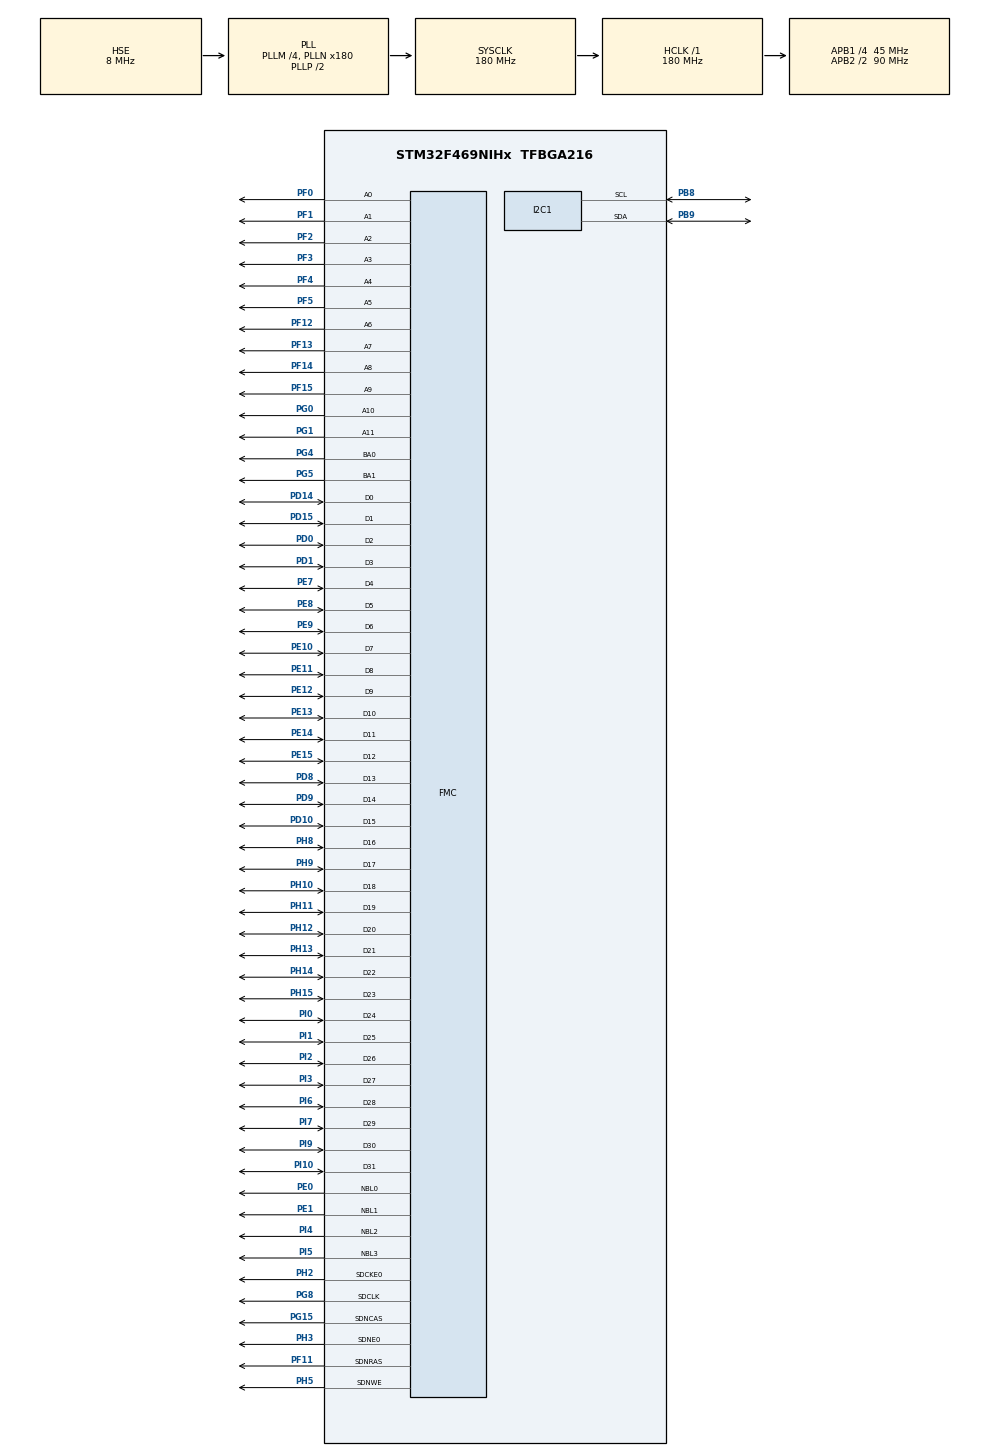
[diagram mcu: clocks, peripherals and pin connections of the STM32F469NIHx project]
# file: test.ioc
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DSIHOST.NumberOfLanes=DSI_TWO_DATA_LANES
DSIHOST_CKN.Mode=DSIHost_Video
DSIHOST_CKN.Signal=DSIHOST_CKN
DSIHOST_CKP.Mode=DSIHost_Video
DSIHOST_CKP.Signal=DSIHOST_CKP
DSIHOST_D0N.Mode=DSIHost_Video
DSIHOST_D0N.Signal=DSIHOST_D0N
DSIHOST_D0P.Mode=DSIHost_Video
DSIHOST_D0P.Signal=DSIHOST_D0P
DSIHOST_D1N.Mode=DSIHost_Video
DSIHOST_D1N.Signal=DSIHOST_D1N
DSIHOST_D1P.Mode=DSIHost_Video
DSIHOST_D1P.Signal=DSIHOST_D1P
FMC.CASLatency1=FMC_SDRAM_CAS_LATENCY_3
FMC.ExitSelfRefreshDelay1=7
FMC.LoadToActiveDelay1=2
FMC.RCDDelay1=2
FMC.RPDelay1=2
FMC.RPDelay2=2
FMC.ReadPipeDelay1=FMC_SDRAM_RPIPE_DELAY_2
FMC.ReadPipeDelay2=FMC_SDRAM_RPIPE_DELAY_2
FMC.RowCycleDelay1=7
FMC.RowCycleDelay2=7
FMC.SelfRefreshTime1=4
FMC.WriteRecoveryTime1=3
LTDC.ActiveW=800
LTDC.FBStartAdress_L0=0xC0000000
LTDC.Layers=0
LTDC.WindowX1_L0=800
LTDC.WindowY1_L0=480
Mcu.Family=STM32F4
Mcu.Name=STM32F469NIHx
Mcu.Package=TFBGA216
NVIC.PriorityGroup=NVIC_PRIORITYGROUP_4
PB8.Mode=I2C
PB8.Signal=I2C1_SCL
PB9.Mode=I2C
PB9.Signal=I2C1_SDA
PD0.Signal=FMC_D2_DA2
PD1.Signal=FMC_D3_DA3
PD10.Signal=FMC_D15_DA15
PD14.Signal=FMC_D0_DA0
PD15.Signal=FMC_D1_DA1
PD8.Signal=FMC_D13_DA13
PD9.Signal=FMC_D14_DA14
PE0.Signal=FMC_NBL0
PE1.Signal=FMC_NBL1
PE10.Signal=FMC_D7_DA7
PE11.Signal=FMC_D8_DA8
PE12.Signal=FMC_D9_DA9
PE13.Signal=FMC_D10_DA10
PE14.Signal=FMC_D11_DA11
PE15.Signal=FMC_D12_DA12
PE7.Signal=FMC_D4_DA4
PE8.Signal=FMC_D5_DA5
PE9.Signal=FMC_D6_DA6
PF0.Signal=FMC_A0
PF1.Signal=FMC_A1
PF11.Signal=FMC_SDNRAS
PF12.Signal=FMC_A6
PF13.Signal=FMC_A7
PF14.Signal=FMC_A8
PF15.Signal=FMC_A9
PF2.Signal=FMC_A2
PF3.Signal=FMC_A3
PF4.Signal=FMC_A4
PF5.Signal=FMC_A5
PG0.Signal=FMC_A10
PG1.Signal=FMC_A11
PG15.Signal=FMC_SDNCAS
PG4.Signal=FMC_A14_BA0
PG5.Signal=FMC_A15_BA1
PG8.Signal=FMC_SDCLK
PH0/OSC_IN.Mode=HSE-External-Oscillator
PH0/OSC_IN.Signal=RCC_OSC_IN
PH1/OSC_OUT.Mode=HSE-External-Oscillator
PH1/OSC_OUT.Signal=RCC_OSC_OUT
PH10.Signal=FMC_D18
PH11.Signal=FMC_D19
PH12.Signal=FMC_D20
PH13.Signal=FMC_D21
PH14.Signal=FMC_D22
PH15.Signal=FMC_D23
PH2.Mode=SdramChipSelect1_1
PH2.Signal=FMC_SDCKE0
PH3.Mode=SdramChipSelect1_1
PH3.Signal=FMC_SDNE0
PH5.Signal=FMC_SDNWE
PH8.Signal=FMC_D16
PH9.Signal=FMC_D17
PI0.Signal=FMC_D24
PI1.Signal=FMC_D25
PI10.Signal=FMC_D31
PI2.Signal=FMC_D26
PI3.Signal=FMC_D27
PI4.Signal=FMC_NBL2
PI5.Signal=FMC_NBL3
PI6.Signal=FMC_D28
PI7.Signal=FMC_D29
PI9.Signal=FMC_D30
ProjectManager.HeapSize=0x200
ProjectManager.StackSize=0x400
ProjectManager.TargetToolchain=STM32CubeIDE
RCC.AHBFreq_Value=180000000
RCC.APB1CLKDivider=RCC_HCLK_DIV4
RCC.APB1Freq_Value=45000000
RCC.APB1TimFreq_Value=90000000
RCC.APB2CLKDivider=RCC_HCLK_DIV2
RCC.APB2Freq_Value=90000000
RCC.APB2TimFreq_Value=180000000
RCC.CortexFreq_Value=180000000
RCC.HCLKFreq_Value=180000000
RCC.HSE_VALUE=8000000
RCC.PLLDSIIDF=DSI_PLL_IN_DIV2
RCC.PLLDSINDIV=125
RCC.PLLM=4
RCC.PLLN=180
RCC.PLLQ=6
RCC.PLLR=6
RCC.PLLSAIN=144
RCC.PLLSAIP=RCC_PLLSAIP_DIV6
RCC.PLLSAIQ=2
RCC.PLLSAIRDiv=RCC_PLLSAIDIVR_4
RCC.PLLSourceVirtual=RCC_PLLSOURCE_HSE
RCC.SYSCLKFreq_VALUE=180000000
RCC.SYSCLKSource=RCC_SYSCLKSOURCE_PLLCLK
RCC.USBCLockSelection=RCC_CLK48CLKSOURCE_PLLSAIP
RCC.USBFreq_Value=48000000
RCC.VCOOutputFreq_Value=360000000
SH.FMC_A0.0=FMC_A0,12b-sda1
SH.FMC_A1.0=FMC_A1,12b-sda1
SH.FMC_A10.0=FMC_A10,12b-sda1
SH.FMC_A11.0=FMC_A11,12b-sda1
SH.FMC_A14_BA0.0=FMC_BA0,FourSdramBanks1
SH.FMC_A15_BA1.0=FMC_BA1,FourSdramBanks1
SH.FMC_A2.0=FMC_A2,12b-sda1
SH.FMC_A3.0=FMC_A3,12b-sda1
SH.FMC_A4.0=FMC_A4,12b-sda1
SH.FMC_A5.0=FMC_A5,12b-sda1
SH.FMC_A6.0=FMC_A6,12b-sda1
SH.FMC_A7.0=FMC_A7,12b-sda1
SH.FMC_A8.0=FMC_A8,12b-sda1
SH.FMC_A9.0=FMC_A9,12b-sda1
SH.FMC_D0_DA0.0=FMC_D0,sd-32b-d1
SH.FMC_D10_DA10.0=FMC_D10,sd-32b-d1
SH.FMC_D11_DA11.0=FMC_D11,sd-32b-d1
SH.FMC_D12_DA12.0=FMC_D12,sd-32b-d1
SH.FMC_D13_DA13.0=FMC_D13,sd-32b-d1
SH.FMC_D14_DA14.0=FMC_D14,sd-32b-d1
SH.FMC_D15_DA15.0=FMC_D15,sd-32b-d1
SH.FMC_D16.0=FMC_D16,sd-32b-d1
SH.FMC_D17.0=FMC_D17,sd-32b-d1
SH.FMC_D18.0=FMC_D18,sd-32b-d1
SH.FMC_D19.0=FMC_D19,sd-32b-d1
SH.FMC_D1_DA1.0=FMC_D1,sd-32b-d1
SH.FMC_D20.0=FMC_D20,sd-32b-d1
SH.FMC_D21.0=FMC_D21,sd-32b-d1
SH.FMC_D22.0=FMC_D22,sd-32b-d1
SH.FMC_D23.0=FMC_D23,sd-32b-d1
SH.FMC_D24.0=FMC_D24,sd-32b-d1
SH.FMC_D25.0=FMC_D25,sd-32b-d1
SH.FMC_D26.0=FMC_D26,sd-32b-d1
SH.FMC_D27.0=FMC_D27,sd-32b-d1
SH.FMC_D28.0=FMC_D28,sd-32b-d1
SH.FMC_D29.0=FMC_D29,sd-32b-d1
SH.FMC_D2_DA2.0=FMC_D2,sd-32b-d1
SH.FMC_D30.0=FMC_D30,sd-32b-d1
SH.FMC_D31.0=FMC_D31,sd-32b-d1
SH.FMC_D3_DA3.0=FMC_D3,sd-32b-d1
SH.FMC_D4_DA4.0=FMC_D4,sd-32b-d1
SH.FMC_D5_DA5.0=FMC_D5,sd-32b-d1
SH.FMC_D6_DA6.0=FMC_D6,sd-32b-d1
SH.FMC_D7_DA7.0=FMC_D7,sd-32b-d1
SH.FMC_D8_DA8.0=FMC_D8,sd-32b-d1
SH.FMC_D9_DA9.0=FMC_D9,sd-32b-d1
SH.FMC_NBL0.0=FMC_NBL0,Sd4ByteEnable1
SH.FMC_NBL1.0=FMC_NBL1,Sd4ByteEnable1
SH.FMC_NBL2.0=FMC_NBL2,Sd4ByteEnable1
SH.FMC_NBL3.0=FMC_NBL3,Sd4ByteEnable1
SH.FMC_SDCLK.0=FMC_SDCLK,12b-sda1
SH.FMC_SDNCAS.0=FMC_SDNCAS,12b-sda1
SH.FMC_SDNRAS.0=FMC_SDNRAS,12b-sda1
SH.FMC_SDNWE.0=FMC_SDNWE,12b-sda1
STMicroelectronics.X-CUBE-AI.10.2.0.ActivationBufferSizeList=28532
STMicroelectronics.X-CUBE-AI.10.2.0.ActivationBuffers=pool0
STMicroelectronics.X-CUBE-AI.10.2.0.ActivationNames=pool0
STMicroelectronics.X-CUBE-AI.10.2.0.ActivationSizes=AI_NETWORK_DATA_ACTIVATION_1_SIZE
STMicroelectronics.X-CUBE-AI.10.2.0.ApplicationCcDeviceJjApplication=ApplicationTemplate
STMicroelectronics.X-CUBE-AI.10.2.0.HeapSize=0x800
STMicroelectronics.X-CUBE-AI.10.2.0.InternalRamActivationBufferMaxSize=AI_NETWORK_DATA_ACTIVATIONS_SIZE
STMicroelectronics.X-CUBE-AI.10.2.0.LatestDirectoryUsed-ea8432d0b437e22b1926be55df984cf24aff27634c1c36f28bf251f60baa54de=C\:\\Users\\lenovo\\Downloads
STMicroelectronics.X-CUBE-AI.10.2.0.MaximumNumberOfInputLayer=1
STMicroelectronics.X-CUBE-AI.10.2.0.MaximumNumberOfOutputLayer=1
STMicroelectronics.X-CUBE-AI.10.2.0.MaximumSizeOfInputLayer=1
STMicroelectronics.X-CUBE-AI.10.2.0.MaximumSizeOfOutputLayer=1
STMicroelectronics.X-CUBE-AI.10.2.0.ModelActualCompression-ea8432d0b437e22b1926be55df984cf24aff27634c1c36f28bf251f60baa54de=0.0
STMicroelectronics.X-CUBE-AI.10.2.0.ModelCompression-ea8432d0b437e22b1926be55df984cf24aff27634c1c36f28bf251f60baa54de=None
STMicroelectronics.X-CUBE-AI.10.2.0.ModelFlashOccupation-ea8432d0b437e22b1926be55df984cf24aff27634c1c36f28bf251f60baa54de=615380
STMicroelectronics.X-CUBE-AI.10.2.0.ModelHashList=ea8432d0b437e22b1926be55df984cf24aff27634c1c36f28bf251f60baa54de
STMicroelectronics.X-CUBE-AI.10.2.0.ModelKind-ea8432d0b437e22b1926be55df984cf24aff27634c1c36f28bf251f60baa54de=KERAS
STMicroelectronics.X-CUBE-AI.10.2.0.ModelMacc-ea8432d0b437e22b1926be55df984cf24aff27634c1c36f28bf251f60baa54de=884472
STMicroelectronics.X-CUBE-AI.10.2.0.ModelName-ea8432d0b437e22b1926be55df984cf24aff27634c1c36f28bf251f60baa54de=network
STMicroelectronics.X-CUBE-AI.10.2.0.ModelNameList=network
STMicroelectronics.X-CUBE-AI.10.2.0.ModelRamOccupation-ea8432d0b437e22b1926be55df984cf24aff27634c1c36f28bf251f60baa54de=28532
STMicroelectronics.X-CUBE-AI.10.2.0.ModelStructureFile-ea8432d0b437e22b1926be55df984cf24aff27634c1c36f28bf251f60baa54de=C\:\\Users\\lenovo\\Downloads\\mnist_cnn.h5
STMicroelectronics.X-CUBE-AI.10.2.0.ModelType-ea8432d0b437e22b1926be55df984cf24aff27634c1c36f28bf251f60baa54de=STM32Cube.AI MCU runtime
STMicroelectronics.X-CUBE-AI.10.2.0.ReadyForCodeGeneration=true
STMicroelectronics.X-CUBE-AI.10.2.0.StackSize=0x800
STMicroelectronics.X-CUBE-AI.10.2.0.WorkingBufferStartAddrList=0xFFFFFFFF
STMicroelectronics.X-CUBE-AI.10.2.0.XAaCUBEAaAICcArtificialOoIntelligenceJjCore=true
STMicroelectronics.X-CUBE-AI.10.2.0.copyWeightToRam=false
STMicroelectronics.X-CUBE-AI.10.2.0.customLayerConfigEnabled=false
STMicroelectronics.X-CUBE-AI.10.2.0.noOnnxIoTranspose=false
STMicroelectronics.X-CUBE-AI.10.2.0.useInputAllocation=true
STMicroelectronics.X-CUBE-AI.10.2.0.useOutputAllocation=true
STMicroelectronics.X-CUBE-DISPLAY.3.0.0_IsPackSelfContextualization=true
VP_CRC_VS_CRC.Mode=CRC_Activate
VP_DMA2D_VS_DMA2D.Mode=DMA2D_Activate
VP_LTDC_DSIMode.Mode=RGB888
VP_STMicroelectronics.X-CUBE-AI_VS_ArtificialOoIntelligenceJjXAaCUBEAaAI_10.2.0.Mode=ArtificialOoIntelligenceJjXAaCUBEAaAI
VP_STMicroelectronics.X-CUBE-AI_VS_DeviceJjApplication_10.2.0.Mode=DeviceJjApplication
board=STM32F469I-DISCO

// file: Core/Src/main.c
/* USER CODE BEGIN Header */
/**
  ******************************************************************************
  * @file           : main.c
  * @brief          : Main program body
  ******************************************************************************
  * @attention
  *
  * Copyright (c) 2025 STMicroelectronics.
  * All rights reserved.
  *
  * This software is licensed under terms that can be found in the LICENSE file
  * in the root directory of this software component.
  * If no LICENSE file comes with this software, it is provided AS-IS.
  *
  ******************************************************************************
  */
/* USER CODE END Header */
#include "main.h"
#include "network.h"
#include "network_data.h"
#include "stm32f4xx_hal.h"
#include "stm32469i_discovery.h"
#include "stm32469i_discovery_lcd.h"
#include "stm32469i_discovery_ts.h"
#include <string.h>
#include <stdio.h>
#include <stdint.h>
#include <stdlib.h>

/* === Globals for AI === */
static ai_handle network = AI_HANDLE_NULL;
static ai_u8 activations[AI_NETWORK_DATA_ACTIVATIONS_SIZE];

static ai_buffer ai_input[AI_NETWORK_IN_NUM];
static ai_buffer ai_output[AI_NETWORK_OUT_NUM];

static float in_data[AI_NETWORK_IN_1_SIZE];
static float out_data[AI_NETWORK_OUT_1_SIZE];

/* === Capture parameters / LCD layout === */
#ifndef LCD_FB_START_ADDRESS
#define LCD_FB_START_ADDRESS  ((uint32_t)0xC0000000)
#endif

#define SRC_WIDTH   800
#define SRC_HEIGHT  480

/* Drawing box on screen */
#define DRAW_X  50
#define DRAW_Y  80
#define DRAW_W  700
#define DRAW_H  250

/* Result area */
#define RESULT_X 200
#define RESULT_Y 350
#define RESULT_W 400
#define RESULT_H 110

/* Invert input if you draw black on white */
#define INVERT_INPUT 1

/* Small padding around bounding box captured */
#define BBOX_PAD 8

/* === Prototypes === */
static void network_init(void);
static int ai_run(uint8_t *img28); /* returns predicted class 0..9, or -1 on error */
static int ai_run_with_conf(uint8_t *img28); /* wrapper to run and keep out_data */
static void capture_frame_bbox_to_mnist(uint8_t *out28x28, int x0, int y0, int x1, int y1);
static void draw_ui_init(void);
static void Error_Display(const char *msg);

/* === Initialize network === */
static void network_init(void) {
    ai_error err;

    err = ai_network_create(&network, AI_NETWORK_DATA_CONFIG);
    if (err.type != AI_ERROR_NONE) {
        /* cannot create network: show error and stop */
        Error_Display("AI create error");
        Error_Handler();
    }

    const ai_network_params params = {
        AI_NETWORK_DATA_WEIGHTS(ai_network_data_weights_get()),
        AI_NETWORK_DATA_ACTIVATIONS(activations)
    };

    if (!ai_network_init(network, &params)) {
        /* initialization failed: show error and stop */
        err = ai_network_get_error(network);
        Error_Display("AI init error");
        Error_Handler();
    }

    /* Retrieve io buffers */
    const ai_buffer *input = ai_network_inputs_get(network, NULL);
    const ai_buffer *output = ai_network_outputs_get(network, NULL);

    /* copy descriptors */
    ai_input[0] = input[0];
    ai_output[0] = output[0];

    /* associate memory pointers (we store floats in in_data/out_data) */
    ai_input[0].data = AI_HANDLE_PTR(in_data);
    ai_output[0].data = AI_HANDLE_PTR(out_data);
}

/* === AI inference: convert uint8 28x28 -> float normalized and run ===
   Returns predicted label 0..9 or -1 on error. Also fills out_data[] with outputs.
   IMPORTANT: If your model was quantized you must apply the proper scale/zero_point here.
*/
static int ai_run(uint8_t *img) {
    ai_i32 nbatch;

    /* Normalize into in_data (float32 in range 0..1) */
    for (int i = 0; i < AI_NETWORK_IN_1_SIZE; i++) {
        in_data[i] = ((float)img[i]) / 255.0f;
    }

    /* ensure ai_input/ai_output point to buffers (redundant but safe) */
    ai_input[0].data = AI_HANDLE_PTR(in_data);
    ai_output[0].data = AI_HANDLE_PTR(out_data);

    nbatch = ai_network_run(network, ai_input, ai_output);
    if (nbatch != 1) {
        /* Show error but do not block entire system */
        Error_Display("AI run error");
        return -1;
    }

    /* Find top index */
    int max_idx = 0;
    float max_val = out_data[0];
    for (int i = 1; i < AI_NETWORK_OUT_1_SIZE; i++) {
        if (out_data[i] > max_val) {
            max_val = out_data[i];
            max_idx = i;
        }
    }

    return max_idx;
}

/* Convenience wrapper (same as ai_run but just a named alias if needed) */
static int ai_run_with_conf(uint8_t *img28) {
    return ai_run(img28);
}

/* === Capture a bounding-box region of the framebuffer and downscale to 28x28.
   - x0,y0..x1,y1 are inclusive screen coordinates.
   - out28x28[] values 0..255 (uint8_t).
*/
static void capture_frame_bbox_to_mnist(uint8_t *out28x28, int x0, int y0, int x1, int y1) {
    uint32_t *fb = (uint32_t *)LCD_FB_START_ADDRESS;
    if (fb == NULL) {
        for (int i = 0; i < 28*28; i++) out28x28[i] = 0;
        return;
    }

    int srcW = x1 - x0 + 1;
    int srcH = y1 - y0 + 1;
    if (srcW <= 0 || srcH <= 0) {
        for (int i = 0; i < 28*28; i++) out28x28[i] = 0;
        return;
    }

    const int dstW = 28, dstH = 28;
    float sx = (float)srcW / (float)dstW;
    float sy = (float)srcH / (float)dstH;

    for (int y = 0; y < dstH; y++) {
        float y0f = y * sy;
        float y1f = (y + 1) * sy;
        int ys = (int)floorf(y0f);
        int ye = (int)ceilf(y1f);
        if (ye >= srcH) ye = srcH - 1;
        if (ys < 0) ys = 0;

        for (int x = 0; x < dstW; x++) {
            float x0f = x * sx;
            float x1f = (x + 1) * sx;
            int xs = (int)floorf(x0f);
            int xe = (int)ceilf(x1f);
            if (xe >= srcW) xe = srcW - 1;
            if (xs < 0) xs = 0;

            uint32_t rsum=0, gsum=0, bsum=0, count=0;
            for (int yy = ys; yy <= ye; yy++) {
                uint32_t *row = fb + ((y0 + yy) * SRC_WIDTH);
                for (int xx = xs; xx <= xe; xx++) {
                    uint32_t px = row[x0 + xx]; /* ARGB8888 */
                    uint8_t b = (uint8_t)(px & 0xFF);
                    uint8_t g = (uint8_t)((px >> 8) & 0xFF);
                    uint8_t r = (uint8_t)((px >> 16) & 0xFF);
                    rsum += r; gsum += g; bsum += b;
                    count++;
                }
            }
            if (count == 0) count = 1;
            uint8_t ravg = (uint8_t)(rsum / count);
            uint8_t gavg = (uint8_t)(gsum / count);
            uint8_t bavg = (uint8_t)(bsum / count);

            uint8_t gray = (uint8_t)((0.299f * ravg) + (0.587f * gavg) + (0.114f * bavg));
#if INVERT_INPUT
            gray = 255 - gray;
#endif
            out28x28[y*dstW + x] = gray;
        }
    }
}

/* Small helper to draw the initial UI: top banner, drawing rectangle, result box */
static void draw_ui_init(void) {
    /* Clear screen */
    BSP_LCD_Clear(LCD_COLOR_WHITE);

    /* Top banner */
    BSP_LCD_SetBackColor(LCD_COLOR_BLUE);
    BSP_LCD_SetTextColor(LCD_COLOR_WHITE);
    BSP_LCD_FillRect(0, 0, SRC_WIDTH, 50);
    BSP_LCD_DisplayStringAt(0, 15, (uint8_t*)"Digit Recognition", CENTER_MODE);

    /* Drawing box */
    BSP_LCD_SetBackColor(LCD_COLOR_WHITE);
    BSP_LCD_SetTextColor(LCD_COLOR_BLACK);
    BSP_LCD_DrawRect(DRAW_X, DRAW_Y, DRAW_W, DRAW_H);
    BSP_LCD_DisplayStringAt(0, DRAW_Y - 18, (uint8_t*)"Draw here", CENTER_MODE);

    /* Clear drawing area (white) */
    BSP_LCD_SetBackColor(LCD_COLOR_WHITE);
    BSP_LCD_FillRect(DRAW_X+1, DRAW_Y+1, DRAW_W-2, DRAW_H-2);

    /* "Clear" button (visual only: we clear automatically after prediction) */
    BSP_LCD_SetBackColor(LCD_COLOR_LIGHTGRAY);
    BSP_LCD_SetTextColor(LCD_COLOR_BLACK);
    BSP_LCD_FillRect(DRAW_X, DRAW_Y + DRAW_H + 12, 120, 36);
    BSP_LCD_SetTextColor(LCD_COLOR_BLACK);
    BSP_LCD_DisplayStringAt(DRAW_X + 10, DRAW_Y + DRAW_H + 22, (uint8_t*)"Clear", LEFT_MODE);

    /* Result box */
    BSP_LCD_SetBackColor(LCD_COLOR_WHITE);
    BSP_LCD_SetTextColor(LCD_COLOR_BLACK);
    BSP_LCD_DrawRect(RESULT_X, RESULT_Y, RESULT_W, RESULT_H);
    BSP_LCD_DisplayStringAt(0, RESULT_Y - 14, (uint8_t*)"Result", CENTER_MODE);

    /* Initial instruction */
    BSP_LCD_SetTextColor(LCD_COLOR_RED);
    BSP_LCD_DisplayStringAt(0, 60, (uint8_t*)"Draw a digit and release to predict", CENTER_MODE);
}

/* Error display (non-blocking) */
static void Error_Display(const char *msg) {
    /* Draw message in result area in red */
    BSP_LCD_SetBackColor(LCD_COLOR_WHITE);
    BSP_LCD_SetTextColor(LCD_COLOR_RED);
    BSP_LCD_FillRect(RESULT_X+1, RESULT_Y+1, RESULT_W-2, RESULT_H-2);
    BSP_LCD_DisplayStringAt(0, RESULT_Y + (RESULT_H/2) - 6, (uint8_t*)msg, CENTER_MODE);
}

CRC_HandleTypeDef hcrc;

DMA2D_HandleTypeDef hdma2d;

DSI_HandleTypeDef hdsi;

I2C_HandleTypeDef hi2c1;

LTDC_HandleTypeDef hltdc;

SDRAM_HandleTypeDef hsdram1;

void SystemClock_Config(void);
static void MX_GPIO_Init(void);
static void MX_CRC_Init(void);
static void MX_DMA2D_Init(void);
static void MX_DSIHOST_DSI_Init(void);
static void MX_FMC_Init(void);
static void MX_I2C1_Init(void);
static void MX_LTDC_Init(void);

int main(void)
{

  /* MCU Configuration--------------------------------------------------------*/

  /* Reset of all peripherals, Initializes the Flash interface and the Systick. */
  HAL_Init();

  /* Configure the system clock */
  SystemClock_Config();

  /* Initialize all configured peripherals */
  MX_GPIO_Init();
  MX_CRC_Init();
  MX_DMA2D_Init();
  MX_DSIHOST_DSI_Init();
  MX_FMC_Init();
  MX_I2C1_Init();
  MX_LTDC_Init();
  /* USER CODE BEGIN 2 */
  network_init();

  /* Init SDRAM + LCD + Touch */
      BSP_SDRAM_Init();
      BSP_LCD_Init();
      BSP_LCD_LayerDefaultInit(0, LCD_FB_START_ADDRESS);
      BSP_LCD_SelectLayer(0);
      BSP_LCD_DisplayOn();

      if (BSP_TS_Init(SRC_WIDTH, SRC_HEIGHT) != TS_OK) {
          Error_Display("Touchscreen init error");
          Error_Handler();
      }

      /* draw UI */
      draw_ui_init();

      /* Touch bounding box tracking */
      int draw_min_x = SRC_WIDTH, draw_min_y = SRC_HEIGHT, draw_max_x = 0, draw_max_y = 0;
      int was_touching = 0;

      /* Buffers */
      uint8_t mnist_img[28*28];
      int prediction = -1;
  /* USER CODE END 2 */

  /* Infinite loop */
  while (1)
  {
	  TS_StateTypeDef TS_State;
	          BSP_TS_GetState(&TS_State);

	          if (TS_State.touchDetected > 0) {
	              /* User is touching: update bounding box and draw pixels */
	              was_touching = 1;
	              for (int i = 0; i < TS_State.touchDetected; i++) {
	                  int tx = TS_State.touchX[i];
	                  int ty = TS_State.touchY[i];

	                  /* Constrain to drawing box so we don't mark UI */
	                  if (tx < DRAW_X) tx = DRAW_X;
	                  if (tx >= DRAW_X + DRAW_W) tx = DRAW_X + DRAW_W - 1;
	                  if (ty < DRAW_Y) ty = DRAW_Y;
	                  if (ty >= DRAW_Y + DRAW_H) ty = DRAW_Y + DRAW_H - 1;

	                  /* update bbox relative to full screen */
	                  if (tx < draw_min_x) draw_min_x = tx;
	                  if (ty < draw_min_y) draw_min_y = ty;
	                  if (tx > draw_max_x) draw_max_x = tx;
	                  if (ty > draw_max_y) draw_max_y = ty;

	                  /* draw thicker point for nicer drawing */
	                  BSP_LCD_FillRect(tx-1, ty-1, 3, 3);
	              }

	              HAL_Delay(20);
	              continue;
	          } else {
	              /* No touch now */
	              if (was_touching) {
	                  /* user just released -> perform capture + inference */

	                  /* small settle delay to avoid transient frames */
	                  HAL_Delay(150);

	                  /* Bound bbox and add padding, ensure inside screen */
	                  if (draw_max_x == 0 && draw_max_y == 0) {
	                      /* nothing drawn -> show message */
	                      Error_Display("No stroke detected");
	                  } else {
	                      int bx0 = draw_min_x - BBOX_PAD; if (bx0 < 0) bx0 = 0;
	                      int by0 = draw_min_y - BBOX_PAD; if (by0 < 0) by0 = 0;
	                      int bx1 = draw_max_x + BBOX_PAD; if (bx1 >= SRC_WIDTH) bx1 = SRC_WIDTH - 1;
	                      int by1 = draw_max_y + BBOX_PAD; if (by1 >= SRC_HEIGHT) by1 = SRC_HEIGHT - 1;

	                      /* capture and resize into mnist_img */
	                      capture_frame_bbox_to_mnist(mnist_img, bx0, by0, bx1, by1);

	                      /* Zero buffers (safety) */
	                      for (int i = 0; i < AI_NETWORK_IN_1_SIZE; i++) in_data[i] = 0.0f;
	                      for (int i = 0; i < AI_NETWORK_OUT_1_SIZE; i++) out_data[i] = 0.0f;

	                      prediction = ai_run_with_conf(mnist_img);
	                      if (prediction < 0) {
	                          /* ai run error already displayed by ai_run */
	                      } else {
	                          /* Display predicted digit and confidence */
	                          /* Find top1 confidence */
	                          float top_val = out_data[0];
	                          for (int i = 1; i < AI_NETWORK_OUT_1_SIZE; i++) {
	                              if (out_data[i] > top_val) top_val = out_data[i];
	                          }

	                          /* Clear result area */
	                          BSP_LCD_SetBackColor(LCD_COLOR_WHITE);
	                          BSP_LCD_FillRect(RESULT_X+1, RESULT_Y+1, RESULT_W-2, RESULT_H-2);

	                          /* Choose color by confidence */
	                          if (top_val > 0.8f) BSP_LCD_SetTextColor(LCD_COLOR_GREEN);
	                          else if (top_val > 0.5f) BSP_LCD_SetTextColor(LCD_COLOR_ORANGE);
	                          else BSP_LCD_SetTextColor(LCD_COLOR_RED);

	                          char resbuf[64];
	                          sprintf(resbuf, "Predicted: %d (%.1f%%)", prediction, top_val * 100.0f);
	                          BSP_LCD_DisplayStringAt(0, RESULT_Y + 12, (uint8_t*)resbuf, CENTER_MODE);

	                          /* Draw a mini histogram of the 10 probs */
	                          int bar_x = RESULT_X + 8;
	                          int bar_y = RESULT_Y + 40;
	                          int bar_w = (RESULT_W - 16) / 10;
	                          int bar_max_h = RESULT_H - 60;
	                          BSP_LCD_SetTextColor(LCD_COLOR_BLACK);
	                          for (int i = 0; i < 10; i++) {
	                              float v = out_data[i];
	                              if (v < 0.0f) v = 0.0f;
	                              if (v > 1.0f) v = 1.0f;
	                              int h = (int)(v * bar_max_h + 0.5f);
	                              /* Draw background bar */
	                              BSP_LCD_SetBackColor(LCD_COLOR_WHITE);
	                              BSP_LCD_FillRect(bar_x + i*bar_w, bar_y, bar_w - 2, bar_max_h);
	                              /* Draw filled bar */
	                              BSP_LCD_SetBackColor(LCD_COLOR_BLUE);
	                              BSP_LCD_FillRect(bar_x + i*bar_w, bar_y + (bar_max_h - h), bar_w - 2, h);
	                              /* Label below */
	                              char t[3]; sprintf(t, "%d", i);
	                              BSP_LCD_SetTextColor(LCD_COLOR_BLACK);
	                              BSP_LCD_DisplayStringAt(bar_x + i*bar_w, bar_y + bar_max_h + 2, (uint8_t*)t, LEFT_MODE);
	                          }
	                      }
	                  }

	                  /* Clear drawing area so next digit starts fresh */
	                  BSP_LCD_SetBackColor(LCD_COLOR_WHITE);
	                  BSP_LCD_FillRect(DRAW_X + 1, DRAW_Y + 1, DRAW_W - 2, DRAW_H - 2);

	                  /* Reset bbox and state */
	                  draw_min_x = SRC_WIDTH; draw_min_y = SRC_HEIGHT;
	                  draw_max_x = 0; draw_max_y = 0;
	                  was_touching = 0;
	              }
	          }

	          HAL_Delay(20);
  }
}

void SystemClock_Config(void)
{
  RCC_OscInitTypeDef RCC_OscInitStruct = {0};
  RCC_ClkInitTypeDef RCC_ClkInitStruct = {0};

  /** Configure the main internal regulator output voltage
  */
  __HAL_RCC_PWR_CLK_ENABLE();
  __HAL_PWR_VOLTAGESCALING_CONFIG(PWR_REGULATOR_VOLTAGE_SCALE1);

  /** Initializes the RCC Oscillators according to the specified parameters
  * in the RCC_OscInitTypeDef structure.
  */
  RCC_OscInitStruct.OscillatorType = RCC_OSCILLATORTYPE_HSE;
  RCC_OscInitStruct.HSEState = RCC_HSE_ON;
  RCC_OscInitStruct.PLL.PLLState = RCC_PLL_ON;
  RCC_OscInitStruct.PLL.PLLSource = RCC_PLLSOURCE_HSE;
  RCC_OscInitStruct.PLL.PLLM = 4;
  RCC_OscInitStruct.PLL.PLLN = 180;
  RCC_OscInitStruct.PLL.PLLP = RCC_PLLP_DIV2;
  RCC_OscInitStruct.PLL.PLLQ = 6;
  RCC_OscInitStruct.PLL.PLLR = 6;
  if (HAL_RCC_OscConfig(&RCC_OscInitStruct) != HAL_OK)
  {
    Error_Handler();
  }

  /** Activate the Over-Drive mode
  */
  if (HAL_PWREx_EnableOverDrive() != HAL_OK)
  {
    Error_Handler();
  }

  /** Initializes the CPU, AHB and APB buses clocks
  */
  RCC_ClkInitStruct.ClockType = RCC_CLOCKTYPE_HCLK|RCC_CLOCKTYPE_SYSCLK
                              |RCC_CLOCKTYPE_PCLK1|RCC_CLOCKTYPE_PCLK2;
  RCC_ClkInitStruct.SYSCLKSource = RCC_SYSCLKSOURCE_PLLCLK;
  RCC_ClkInitStruct.AHBCLKDivider = RCC_SYSCLK_DIV1;
  RCC_ClkInitStruct.APB1CLKDivider = RCC_HCLK_DIV4;
  RCC_ClkInitStruct.APB2CLKDivider = RCC_HCLK_DIV2;

  if (HAL_RCC_ClockConfig(&RCC_ClkInitStruct, FLASH_LATENCY_5) != HAL_OK)
  {
    Error_Handler();
  }
}

static void MX_CRC_Init(void)
{

  hcrc.Instance = CRC;
  if (HAL_CRC_Init(&hcrc) != HAL_OK)
  {
    Error_Handler();
  }

}

static void MX_DMA2D_Init(void)
{

  hdma2d.Instance = DMA2D;
  hdma2d.Init.Mode = DMA2D_M2M;
  hdma2d.Init.ColorMode = DMA2D_OUTPUT_ARGB8888;
  hdma2d.Init.OutputOffset = 0;
  hdma2d.LayerCfg[1].InputOffset = 0;
  hdma2d.LayerCfg[1].InputColorMode = DMA2D_INPUT_ARGB8888;
  hdma2d.LayerCfg[1].AlphaMode = DMA2D_NO_MODIF_ALPHA;
  hdma2d.LayerCfg[1].InputAlpha = 0;
  if (HAL_DMA2D_Init(&hdma2d) != HAL_OK)
  {
    Error_Handler();
  }
  if (HAL_DMA2D_ConfigLayer(&hdma2d, 1) != HAL_OK)
  {
    Error_Handler();
  }

}

static void MX_DSIHOST_DSI_Init(void)
{

  DSI_PLLInitTypeDef PLLInit = {0};
  DSI_HOST_TimeoutTypeDef HostTimeouts = {0};
  DSI_PHY_TimerTypeDef PhyTimings = {0};
  DSI_VidCfgTypeDef VidCfg = {0};

  hdsi.Instance = DSI;
  hdsi.Init.AutomaticClockLaneControl = DSI_AUTO_CLK_LANE_CTRL_DISABLE;
  hdsi.Init.TXEscapeCkdiv = 4;
  hdsi.Init.NumberOfLanes = DSI_TWO_DATA_LANES;
  PLLInit.PLLNDIV = 125;
  PLLInit.PLLIDF = DSI_PLL_IN_DIV2;
  PLLInit.PLLODF = DSI_PLL_OUT_DIV1;
  if (HAL_DSI_Init(&hdsi, &PLLInit) != HAL_OK)
  {
    Error_Handler();
  }
  HostTimeouts.TimeoutCkdiv = 1;
  HostTimeouts.HighSpeedTransmissionTimeout = 0;
  HostTimeouts.LowPowerReceptionTimeout = 0;
  HostTimeouts.HighSpeedReadTimeout = 0;
  HostTimeouts.LowPowerReadTimeout = 0;
  HostTimeouts.HighSpeedWriteTimeout = 0;
  HostTimeouts.HighSpeedWritePrespMode = DSI_HS_PM_DISABLE;
  HostTimeouts.LowPowerWriteTimeout = 0;
  HostTimeouts.BTATimeout = 0;
  if (HAL_DSI_ConfigHostTimeouts(&hdsi, &HostTimeouts) != HAL_OK)
  {
    Error_Handler();
  }
  PhyTimings.ClockLaneHS2LPTime = 28;
  PhyTimings.ClockLaneLP2HSTime = 33;
  PhyTimings.DataLaneHS2LPTime = 15;
  PhyTimings.DataLaneLP2HSTime = 25;
  PhyTimings.DataLaneMaxReadTime = 0;
  PhyTimings.StopWaitTime = 0;
  if (HAL_DSI_ConfigPhyTimer(&hdsi, &PhyTimings) != HAL_OK)
  {
    Error_Handler();
  }
  if (HAL_DSI_ConfigFlowControl(&hdsi, DSI_FLOW_CONTROL_BTA) != HAL_OK)
  {
    Error_Handler();
  }
  if (HAL_DSI_SetLowPowerRXFilter(&hdsi, 10000) != HAL_OK)
  {
    Error_Handler();
  }
  if (HAL_DSI_ConfigErrorMonitor(&hdsi, HAL_DSI_ERROR_NONE) != HAL_OK)
  {
    Error_Handler();
  }
  VidCfg.VirtualChannelID = 0;
  VidCfg.ColorCoding = DSI_RGB888;
  VidCfg.LooselyPacked = DSI_LOOSELY_PACKED_DISABLE;
  VidCfg.Mode = DSI_VID_MODE_NB_PULSES;
  VidCfg.PacketSize = 1;
  VidCfg.NumberOfChunks = 800;
  VidCfg.NullPacketSize = 0;
  VidCfg.HSPolarity = DSI_HSYNC_ACTIVE_LOW;
  VidCfg.VSPolarity = DSI_VSYNC_ACTIVE_LOW;
  VidCfg.DEPolarity = DSI_DATA_ENABLE_ACTIVE_HIGH;
  VidCfg.HorizontalSyncActive = 14;
  VidCfg.HorizontalBackPorch = 12;
  VidCfg.HorizontalLine = 1425;
  VidCfg.VerticalSyncActive = 4;
  VidCfg.VerticalBackPorch = 2;
  VidCfg.VerticalFrontPorch = 2;
  VidCfg.VerticalActive = 480;
  VidCfg.LPCommandEnable = DSI_LP_COMMAND_DISABLE;
  VidCfg.LPLargestPacketSize = 0;
  VidCfg.LPVACTLargestPacketSize = 0;
  VidCfg.LPHorizontalFrontPorchEnable = DSI_LP_HFP_DISABLE;
  VidCfg.LPHorizontalBackPorchEnable = DSI_LP_HBP_DISABLE;
  VidCfg.LPVerticalActiveEnable = DSI_LP_VACT_DISABLE;
  VidCfg.LPVerticalFrontPorchEnable = DSI_LP_VFP_DISABLE;
  VidCfg.LPVerticalBackPorchEnable = DSI_LP_VBP_DISABLE;
  VidCfg.LPVerticalSyncActiveEnable = DSI_LP_VSYNC_DISABLE;
  VidCfg.FrameBTAAcknowledgeEnable = DSI_FBTAA_DISABLE;
  if (HAL_DSI_ConfigVideoMode(&hdsi, &VidCfg) != HAL_OK)
  {
    Error_Handler();
  }
  if (HAL_DSI_SetGenericVCID(&hdsi, 0) != HAL_OK)
  {
    Error_Handler();
  }

}

static void MX_I2C1_Init(void)
{

  hi2c1.Instance = I2C1;
  hi2c1.Init.ClockSpeed = 100000;
  hi2c1.Init.DutyCycle = I2C_DUTYCYCLE_2;
  hi2c1.Init.OwnAddress1 = 0;
  hi2c1.Init.AddressingMode = I2C_ADDRESSINGMODE_7BIT;
  hi2c1.Init.DualAddressMode = I2C_DUALADDRESS_DISABLE;
  hi2c1.Init.OwnAddress2 = 0;
  hi2c1.Init.GeneralCallMode = I2C_GENERALCALL_DISABLE;
  hi2c1.Init.NoStretchMode = I2C_NOSTRETCH_DISABLE;
  if (HAL_I2C_Init(&hi2c1) != HAL_OK)
  {
    Error_Handler();
  }

}

static void MX_LTDC_Init(void)
{

  LTDC_LayerCfgTypeDef pLayerCfg = {0};

  hltdc.Instance = LTDC;
  hltdc.Init.HSPolarity = LTDC_HSPOLARITY_AL;
  hltdc.Init.VSPolarity = LTDC_VSPOLARITY_AL;
  hltdc.Init.DEPolarity = LTDC_DEPOLARITY_AL;
  hltdc.Init.PCPolarity = LTDC_PCPOLARITY_IPC;
  hltdc.Init.HorizontalSync = 7;
  hltdc.Init.VerticalSync = 3;
  hltdc.Init.AccumulatedHBP = 14;
  hltdc.Init.AccumulatedVBP = 5;
  hltdc.Init.AccumulatedActiveW = 814;
  hltdc.Init.AccumulatedActiveH = 485;
  hltdc.Init.TotalWidth = 820;
  hltdc.Init.TotalHeigh = 487;
  hltdc.Init.Backcolor.Blue = 0;
  hltdc.Init.Backcolor.Green = 0;
  hltdc.Init.Backcolor.Red = 0;
  if (HAL_LTDC_Init(&hltdc) != HAL_OK)
  {
    Error_Handler();
  }
  pLayerCfg.WindowX0 = 0;
  pLayerCfg.WindowX1 = 800;
  pLayerCfg.WindowY0 = 0;
  pLayerCfg.WindowY1 = 480;
  pLayerCfg.PixelFormat = LTDC_PIXEL_FORMAT_ARGB8888;
  pLayerCfg.Alpha = 0;
  pLayerCfg.Alpha0 = 0;
  pLayerCfg.BlendingFactor1 = LTDC_BLENDING_FACTOR1_CA;
  pLayerCfg.BlendingFactor2 = LTDC_BLENDING_FACTOR2_CA;
  pLayerCfg.FBStartAdress = 0xC0000000;
  pLayerCfg.ImageWidth = 0;
  pLayerCfg.ImageHeight = 0;
  pLayerCfg.Backcolor.Blue = 0;
  pLayerCfg.Backcolor.Green = 0;
  pLayerCfg.Backcolor.Red = 0;
  if (HAL_LTDC_ConfigLayer(&hltdc, &pLayerCfg, 0) != HAL_OK)
  {
    Error_Handler();
  }

}

/* FMC initialization function */
static void MX_FMC_Init(void)
{

  FMC_SDRAM_TimingTypeDef SdramTiming = {0};

  /** Perform the SDRAM1 memory initialization sequence
  */
  hsdram1.Instance = FMC_SDRAM_DEVICE;
  /* hsdram1.Init */
  hsdram1.Init.SDBank = FMC_SDRAM_BANK1;
  hsdram1.Init.ColumnBitsNumber = FMC_SDRAM_COLUMN_BITS_NUM_8;
  hsdram1.Init.RowBitsNumber = FMC_SDRAM_ROW_BITS_NUM_12;
  hsdram1.Init.MemoryDataWidth = FMC_SDRAM_MEM_BUS_WIDTH_32;
  hsdram1.Init.InternalBankNumber = FMC_SDRAM_INTERN_BANKS_NUM_4;
  hsdram1.Init.CASLatency = FMC_SDRAM_CAS_LATENCY_3;
  hsdram1.Init.WriteProtection = FMC_SDRAM_WRITE_PROTECTION_DISABLE;
  hsdram1.Init.SDClockPeriod = FMC_SDRAM_CLOCK_DISABLE;
  hsdram1.Init.ReadBurst = FMC_SDRAM_RBURST_DISABLE;
  hsdram1.Init.ReadPipeDelay = FMC_SDRAM_RPIPE_DELAY_2;
  /* SdramTiming */
  SdramTiming.LoadToActiveDelay = 2;
  SdramTiming.ExitSelfRefreshDelay = 7;
  SdramTiming.SelfRefreshTime = 4;
  SdramTiming.RowCycleDelay = 7;
  SdramTiming.WriteRecoveryTime = 3;
  SdramTiming.RPDelay = 2;
  SdramTiming.RCDDelay = 2;

  if (HAL_SDRAM_Init(&hsdram1, &SdramTiming) != HAL_OK)
  {
    Error_Handler( );
  }

}

static void MX_GPIO_Init(void)
{

  /* GPIO Ports Clock Enable */
  __HAL_RCC_GPIOE_CLK_ENABLE();
  __HAL_RCC_GPIOB_CLK_ENABLE();
  __HAL_RCC_GPIOG_CLK_ENABLE();
  __HAL_RCC_GPIOD_CLK_ENABLE();
  __HAL_RCC_GPIOI_CLK_ENABLE();
  __HAL_RCC_GPIOF_CLK_ENABLE();
  __HAL_RCC_GPIOH_CLK_ENABLE();

}

void Error_Handler(void)
{
  /* USER CODE BEGIN Error_Handler_Debug */
  /* User can add his own implementation to report the HAL error return state */
  __disable_irq();
  BSP_LCD_SetBackColor(LCD_COLOR_RED);
      BSP_LCD_Clear(LCD_COLOR_RED);
      BSP_LCD_DisplayStringAt(0, 120, (uint8_t *)"ERROR", CENTER_MODE);
  while (1)
  {
  }
  /* USER CODE END Error_Handler_Debug */
}
